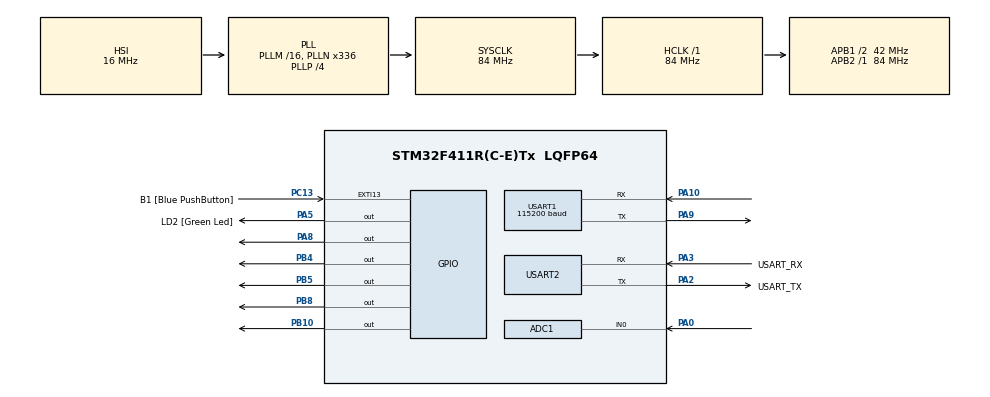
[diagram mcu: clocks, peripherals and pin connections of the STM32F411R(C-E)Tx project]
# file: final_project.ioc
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ADC1.Channel-0\#ChannelRegularConversion=ADC_CHANNEL_0
ADC1.NbrOfConversionFlag=1
ADC1.Rank-0\#ChannelRegularConversion=1
ADC1.SamplingTime-0\#ChannelRegularConversion=ADC_SAMPLETIME_3CYCLES
ADC1.master=1
Mcu.Family=STM32F4
Mcu.Name=STM32F411R(C-E)Tx
Mcu.Package=LQFP64
NVIC.PriorityGroup=NVIC_PRIORITYGROUP_0
PA0-WKUP.Signal=ADCx_IN0
PA10.Mode=Asynchronous
PA10.Signal=USART1_RX
PA13.GPIO_Label=TMS
PA13.Mode=Serial_Wire
PA13.Signal=SYS_JTMS-SWDIO
PA14.GPIO_Label=TCK
PA14.Mode=Serial_Wire
PA14.Signal=SYS_JTCK-SWCLK
PA2.GPIO_Label=USART_TX
PA2.Mode=Asynchronous
PA2.Signal=USART2_TX
PA3.GPIO_Label=USART_RX
PA3.Mode=Asynchronous
PA3.Signal=USART2_RX
PA5.GPIO_Label=LD2 [Green Led]
PA5.Signal=GPIO_Output
PA8.Signal=GPIO_Output
PA9.Mode=Asynchronous
PA9.Signal=USART1_TX
PB10.Signal=GPIO_Output
PB3.GPIO_Label=SWO
PB3.Signal=SYS_JTDO-SWO
PB4.Signal=GPIO_Output
PB5.Signal=GPIO_Output
PB8.Signal=GPIO_Output
PC13-ANTI_TAMP.GPIO_Label=B1 [Blue PushButton]
PC13-ANTI_TAMP.GPIO_ModeDefaultEXTI=GPIO_MODE_IT_FALLING
PC13-ANTI_TAMP.Signal=GPXTI13
PC14-OSC32_IN.Mode=LSE-External-Oscillator
PC14-OSC32_IN.Signal=RCC_OSC32_IN
PC15-OSC32_OUT.Mode=LSE-External-Oscillator
PC15-OSC32_OUT.Signal=RCC_OSC32_OUT
PH0\ -\ OSC_IN.Mode=HSE-External-Clock-Source
PH0\ -\ OSC_IN.Signal=RCC_OSC_IN
PH1\ -\ OSC_OUT.Mode=HSE-External-Clock-Source
PH1\ -\ OSC_OUT.Signal=RCC_OSC_OUT
ProjectManager.HeapSize=0x200
ProjectManager.StackSize=0x400
ProjectManager.TargetToolchain=STM32CubeIDE
RCC.48MHZClocksFreq_Value=84000000
RCC.AHBFreq_Value=84000000
RCC.APB1CLKDivider=RCC_HCLK_DIV2
RCC.APB1Freq_Value=42000000
RCC.APB1TimFreq_Value=84000000
RCC.APB2Freq_Value=84000000
RCC.APB2TimFreq_Value=84000000
RCC.CortexFreq_Value=84000000
RCC.FLatency-AdvancedSettings=FLASH_LATENCY_2
RCC.HCLKFreq_Value=84000000
RCC.HSE_VALUE=8000000
RCC.HSI_VALUE=16000000
RCC.PLLN=336
RCC.PLLP=RCC_PLLP_DIV4
RCC.SYSCLKFreq_VALUE=84000000
RCC.SYSCLKSource=RCC_SYSCLKSOURCE_PLLCLK
RCC.VCOOutputFreq_Value=336000000
SH.ADCx_IN0.0=ADC1_IN0,IN0
USART1.BaudRate=115200
USART1.VirtualMode=VM_ASYNC
USART2.VirtualMode=VM_ASYNC
board=NUCLEO-F411RE

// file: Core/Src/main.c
/* USER CODE BEGIN Header */
/**
 ******************************************************************************
 * @file           : main.c
 * @brief          : Main program body
 ******************************************************************************
 * @attention
 *
 * Copyright (c) 2025 STMicroelectronics.
 * All rights reserved.
 *
 * This software is licensed under terms that can be found in the LICENSE file
 * in the root directory of this software component.
 * If no LICENSE file comes with this software, it is provided AS-IS.
 *
 ******************************************************************************
 */
/* USER CODE END Header */
#include "main.h"
#include "adc.h"
#include "usart.h"
#include "gpio.h"

/* USER CODE BEGIN Includes */
#include <math.h>
#include <stdio.h>
#include <string.h>
/* USER CODE END Includes */

/* USER CODE BEGIN PV */
// --- DHT11 Variables ---
uint8_t Rh_byte1, Rh_byte2, Temp_byte1, Temp_byte2;
uint16_t SUM;
float Temperature = 0;
float Humidity = 0;
uint8_t Presence = 0;

// --- LDR Variables ---
uint32_t adc_val = 0;
float lux_val = 0;

// --- DS1302 Variables ---
uint8_t rtc_sec, rtc_min, rtc_hour, rtc_date, rtc_month, rtc_day, rtc_year;
char time_str[30];
char json_buffer[150]; // Buffer for UART sending
/* USER CODE END PV */

void SystemClock_Config(void);

/* USER CODE BEGIN 0 */

// ================= MICROSECOND DELAY (For DHT11) =================
// The HAL_Delay is milliseconds. We need microseconds.
// We use the DWT (Data Watchpoint and Trace) cycle counter.
void DWT_Delay_Init(void) {
  if (!(CoreDebug->DEMCR & CoreDebug_DEMCR_TRCENA_Msk)) {
    CoreDebug->DEMCR |= CoreDebug_DEMCR_TRCENA_Msk;
    DWT->CYCCNT = 0;
    DWT->CTRL |= DWT_CTRL_CYCCNTENA_Msk;
  }
}

void delay_us(uint32_t us) {
  uint32_t start_tick = DWT->CYCCNT;
  uint32_t ticks = us * (HAL_RCC_GetHCLKFreq() / 1000000);
  while ((DWT->CYCCNT - start_tick) < ticks)
    ;
}

// ================= GPIO HELPERS =================
void Set_Pin_Output(GPIO_TypeDef *GPIOx, uint16_t GPIO_Pin) {
  GPIO_InitTypeDef GPIO_InitStruct = {0};
  GPIO_InitStruct.Pin = GPIO_Pin;
  GPIO_InitStruct.Mode = GPIO_MODE_OUTPUT_PP;
  GPIO_InitStruct.Pull = GPIO_NOPULL;
  GPIO_InitStruct.Speed = GPIO_SPEED_FREQ_LOW;
  HAL_GPIO_Init(GPIOx, &GPIO_InitStruct);
}

void Set_Pin_Input(GPIO_TypeDef *GPIOx, uint16_t GPIO_Pin) {
  GPIO_InitTypeDef GPIO_InitStruct = {0};
  GPIO_InitStruct.Pin = GPIO_Pin;
  GPIO_InitStruct.Mode = GPIO_MODE_INPUT;
  GPIO_InitStruct.Pull = GPIO_NOPULL;
  HAL_GPIO_Init(GPIOx, &GPIO_InitStruct);
}

// ================= DHT11 DRIVER =================
void DHT11_Start(void) {
  Set_Pin_Output(GPIOB, GPIO_PIN_5); // PB5
  HAL_GPIO_WritePin(GPIOB, GPIO_PIN_5, 0);
  HAL_Delay(18); // Pull low for 18ms
  HAL_GPIO_WritePin(GPIOB, GPIO_PIN_5, 1);
  delay_us(20);
  Set_Pin_Input(GPIOB, GPIO_PIN_5);
}

uint8_t DHT11_Check_Response(void) {
  uint8_t Response = 0;
  delay_us(40);

  if (!(HAL_GPIO_ReadPin(GPIOB, GPIO_PIN_5))) {
    delay_us(80);
    if ((HAL_GPIO_ReadPin(GPIOB, GPIO_PIN_5)))
      Response = 1;
    else
      Response = -1;
  }

  // --- SAFETY FIX: Add Timeout ---
  // If the line stays HIGH forever, we must break out!
  uint32_t timeout = 1000;
  while ((HAL_GPIO_ReadPin(GPIOB, GPIO_PIN_5)) && timeout--)
    ;

  if (timeout == 0)
    return 0; // Error: Timeout
  return Response;
}

uint8_t DHT11_Read_Byte(void) {
  uint8_t i = 0, j;
  for (j = 0; j < 8; j++) {

    // --- SAFETY FIX 1: Wait for Pin LOW ---
    uint32_t timeout = 1000;
    while (!(HAL_GPIO_ReadPin(GPIOB, GPIO_PIN_5)) && timeout--)
      ;
    if (timeout == 0)
      return 0; // Escape if stuck LOW

    delay_us(40); // Measure pulse width

    if (!(HAL_GPIO_ReadPin(GPIOB, GPIO_PIN_5))) {
      i &= ~(1 << (7 - j)); // Logic 0
    } else {
      i |= (1 << (7 - j)); // Logic 1
    }

    // --- SAFETY FIX 2: Wait for Pin HIGH ---
    timeout = 1000;
    while ((HAL_GPIO_ReadPin(GPIOB, GPIO_PIN_5)) && timeout--)
      ;
    if (timeout == 0)
      return 0; // Escape if stuck HIGH
  }
  return i;
}

// ================= DS1302 DRIVER =================
// Mapped: CLK=PB4, DAT=PB10, RST=PA8
#define DS_CLK_PORT GPIOB
#define DS_CLK_PIN GPIO_PIN_4
#define DS_DAT_PORT GPIOB
#define DS_DAT_PIN GPIO_PIN_10
#define DS_RST_PORT GPIOA
#define DS_RST_PIN GPIO_PIN_8

void DS1302_WriteByte(uint8_t dat) {
  Set_Pin_Output(DS_DAT_PORT, DS_DAT_PIN);
  for (int i = 0; i < 8; i++) {
    HAL_GPIO_WritePin(DS_DAT_PORT, DS_DAT_PIN, (dat & 0x01));
    HAL_GPIO_WritePin(DS_CLK_PORT, DS_CLK_PIN, 1); // Clock High
    delay_us(1);
    HAL_GPIO_WritePin(DS_CLK_PORT, DS_CLK_PIN, 0); // Clock Low
    delay_us(1);
    dat >>= 1;
  }
}

uint8_t DS1302_ReadByte(void) {
  uint8_t dat = 0;
  Set_Pin_Input(DS_DAT_PORT, DS_DAT_PIN);
  for (int i = 0; i < 8; i++) {
    dat >>= 1;
    if (HAL_GPIO_ReadPin(DS_DAT_PORT, DS_DAT_PIN))
      dat |= 0x80;
    HAL_GPIO_WritePin(DS_CLK_PORT, DS_CLK_PIN, 1);
    delay_us(1);
    HAL_GPIO_WritePin(DS_CLK_PORT, DS_CLK_PIN, 0);
    delay_us(1);
  }
  return dat;
}

void DS1302_Write(uint8_t addr, uint8_t dat) {
  HAL_GPIO_WritePin(DS_RST_PORT, DS_RST_PIN, 0);
  HAL_GPIO_WritePin(DS_CLK_PORT, DS_CLK_PIN, 0);
  HAL_GPIO_WritePin(DS_RST_PORT, DS_RST_PIN, 1); // Enable
  DS1302_WriteByte(addr);
  DS1302_WriteByte(dat);
  HAL_GPIO_WritePin(DS_RST_PORT, DS_RST_PIN, 0); // Disable
}

uint8_t DS1302_Read(uint8_t addr) {
  uint8_t temp;
  HAL_GPIO_WritePin(DS_RST_PORT, DS_RST_PIN, 0);
  HAL_GPIO_WritePin(DS_CLK_PORT, DS_CLK_PIN, 0);
  HAL_GPIO_WritePin(DS_RST_PORT, DS_RST_PIN, 1); // Enable
  DS1302_WriteByte(addr);
  temp = DS1302_ReadByte();
  HAL_GPIO_WritePin(DS_RST_PORT, DS_RST_PIN, 0); // Disable
  return temp;
}

void DS1302_Init() {
  DS1302_Write(0x8E, 0x00); // Disable write protection
  // Optional: Set time once if needed (Sec, Min, Hour, Date, Month, Day, Year)
//   DS1302_Write(0x80, 0x00); // 00 Seconds
//   DS1302_Write(0x82, 0x06); // 40 Minutes (example: set to current time)
//   DS1302_Write(0x84, 0x19); // 11 Hours (24h format)
//   DS1302_Write(0x86, 0x09); // th Day
//   DS1302_Write(0x88, 0x12); // (month 12)
//   DS1302_Write(0x8A, 0x02); // (day of week, 1-7)
//   DS1302_Write(0x8C, 0x25); // Year 25 (2025)
//
   DS1302_Write(0x8E, 0x80); // Enable write protect
}

void DS1302_GetTime() {
  rtc_sec = DS1302_Read(0x81);
  rtc_min = DS1302_Read(0x83);
  rtc_hour = DS1302_Read(0x85);
  rtc_date = DS1302_Read(0x87);
  rtc_month = DS1302_Read(0x89);
  rtc_year = DS1302_Read(0x8D);
  // Convert BCD to Decimal
  rtc_sec = (rtc_sec / 16) * 10 + rtc_sec % 16;
  rtc_min = (rtc_min / 16) * 10 + rtc_min % 16;
  rtc_hour = (rtc_hour / 16) * 10 + rtc_hour % 16;
  rtc_date = (rtc_date / 16) * 10 + rtc_date % 16;
  rtc_month = (rtc_month / 16) * 10 + rtc_month % 16;
  rtc_year = (rtc_year / 16) * 10 + rtc_year % 16;
}
/* USER CODE END 0 */

int main(void)
{

  /* MCU Configuration--------------------------------------------------------*/

  /* Reset of all peripherals, Initializes the Flash interface and the Systick. */
  HAL_Init();

  /* Configure the system clock */
  SystemClock_Config();

  /* Initialize all configured peripherals */
  MX_GPIO_Init();
  MX_USART2_UART_Init();
  MX_ADC1_Init();
  MX_USART1_UART_Init();
  /* USER CODE BEGIN 2 */
  // 1. Initialize your custom libraries
  DWT_Delay_Init();
  DS1302_Init();

  // 2. Define your Startup Message (Use \r\n for a clean new line)
  char msg_start[] = "\r\n========================================\r\n"
                     "   STM32 F411RE Sensor Hub Starting...  \r\n"
                     "   Connection: 115200 baud              \r\n"
                     "========================================\r\n";

  // 3. Send it to the PC (huart2)
  HAL_UART_Transmit(&huart2, (uint8_t *)msg_start, strlen(msg_start), 100);
  HAL_GPIO_TogglePin(GPIOA, GPIO_PIN_5);
  /* USER CODE END 2 */

  /* Infinite loop */
  while (1) {

    /* USER CODE BEGIN 3 */
    // --- 1. Read DHT11 ---
    DHT11_Start();
    Presence = DHT11_Check_Response();
    Rh_byte1 = DHT11_Read_Byte();
    Rh_byte2 = DHT11_Read_Byte();
    Temp_byte1 = DHT11_Read_Byte();
    Temp_byte2 = DHT11_Read_Byte();
    SUM = DHT11_Read_Byte();

    // Verify Checksum
    if (SUM == (Rh_byte1 + Rh_byte2 + Temp_byte1 + Temp_byte2)) {
      Temperature = (float)Temp_byte1; // DHT11 only gives int precision usually
      Humidity = (float)Rh_byte1;
    }

    // --- 2. Read LDR (ADC) ---
    HAL_ADC_Start(&hadc1);
    if (HAL_ADC_PollForConversion(&hadc1, 100) == HAL_OK) {
      adc_val = HAL_ADC_GetValue(&hadc1);
    }
    HAL_ADC_Stop(&hadc1);

    // Debug ADC Print for raw LDR value
    // char adc_debug[50];
    // sprintf(adc_debug, "DEBUG ADC: raw=%lu\r\n", adc_val);
    // HAL_UART_Transmit(&huart2, (uint8_t*)adc_debug, strlen(adc_debug), 100);

    // Calculate Lux (Simplified math)
    float voltage = adc_val * (3.3 / 4095.0);
    float resistance = 10000 * (3.3 - voltage) / voltage;
    if (resistance < 10)
      resistance = 10;
    // Lux formula approx
    lux_val = 10 * pow((resistance / 50000), (-1 / 0.7));

    // --- 3. Read Time ---
    DS1302_GetTime();
    // Debug Time Print
    // char debug_str[100];
    // sprintf(debug_str,
    //         "DEBUG RTC: sec=%02X min=%02X hour=%02X date=%02X month=%02X "
    //         "year=%02X\r\n",
    //         rtc_sec, rtc_min, rtc_hour, rtc_date, rtc_month, rtc_year);
    // HAL_UART_Transmit(&huart2, (uint8_t *)debug_str, strlen(debug_str), 100);

    sprintf(time_str, "%02d/%02d/20%02d %02d:%02d:%02d", rtc_date, rtc_month,
            rtc_year, rtc_hour, rtc_min, rtc_sec);

    // --- 4. Format JSON ---
    // Make sure to enable "float with printf" in settings!
    memset(json_buffer, 0, sizeof(json_buffer));
    sprintf(json_buffer,
            "{\"temp\":%.1f,\"hum\":%.1f,\"lux\":%.1f,\"time\":\"%s\"}\r\n",
            Temperature, Humidity, lux_val, time_str);

    // --- 5. Send Data ---
    // To PC (USB)
    HAL_UART_Transmit(&huart2, (uint8_t *)json_buffer, strlen(json_buffer),
                      100);

    // To ESP32 (PA9/PA10)
    HAL_UART_Transmit(&huart1, (uint8_t *)json_buffer, strlen(json_buffer),
                      100);
//    HAL_UART_Transmit(&huart1, "b", strlen("b"), 100);
//    HAL_UART_Transmit(&huart1, (uint8_t *)"H", 1,
//                          100);
    HAL_GPIO_TogglePin(GPIOA, GPIO_PIN_5); // Blink the green LED
    // Wait 2 seconds
    HAL_Delay(2000);
  }
  /* USER CODE END 3 */
}

void SystemClock_Config(void)
{
  RCC_OscInitTypeDef RCC_OscInitStruct = {0};
  RCC_ClkInitTypeDef RCC_ClkInitStruct = {0};

  /** Configure the main internal regulator output voltage
  */
  __HAL_RCC_PWR_CLK_ENABLE();
  __HAL_PWR_VOLTAGESCALING_CONFIG(PWR_REGULATOR_VOLTAGE_SCALE1);

  /** Initializes the RCC Oscillators according to the specified parameters
  * in the RCC_OscInitTypeDef structure.
  */
  RCC_OscInitStruct.OscillatorType = RCC_OSCILLATORTYPE_HSI;
  RCC_OscInitStruct.HSIState = RCC_HSI_ON;
  RCC_OscInitStruct.HSICalibrationValue = RCC_HSICALIBRATION_DEFAULT;
  RCC_OscInitStruct.PLL.PLLState = RCC_PLL_ON;
  RCC_OscInitStruct.PLL.PLLSource = RCC_PLLSOURCE_HSI;
  RCC_OscInitStruct.PLL.PLLM = 16;
  RCC_OscInitStruct.PLL.PLLN = 336;
  RCC_OscInitStruct.PLL.PLLP = RCC_PLLP_DIV4;
  RCC_OscInitStruct.PLL.PLLQ = 4;
  if (HAL_RCC_OscConfig(&RCC_OscInitStruct) != HAL_OK)
  {
    Error_Handler();
  }

  /** Initializes the CPU, AHB and APB buses clocks
  */
  RCC_ClkInitStruct.ClockType = RCC_CLOCKTYPE_HCLK|RCC_CLOCKTYPE_SYSCLK
                              |RCC_CLOCKTYPE_PCLK1|RCC_CLOCKTYPE_PCLK2;
  RCC_ClkInitStruct.SYSCLKSource = RCC_SYSCLKSOURCE_PLLCLK;
  RCC_ClkInitStruct.AHBCLKDivider = RCC_SYSCLK_DIV1;
  RCC_ClkInitStruct.APB1CLKDivider = RCC_HCLK_DIV2;
  RCC_ClkInitStruct.APB2CLKDivider = RCC_HCLK_DIV1;

  if (HAL_RCC_ClockConfig(&RCC_ClkInitStruct, FLASH_LATENCY_2) != HAL_OK)
  {
    Error_Handler();
  }
}

void Error_Handler(void)
{
  __disable_irq();
}
#ifdef USE_FULL_ASSERT
/**
  * @brief  Reports the name of the source file and the source line number
  *         where the assert_param error has occurred.
  * @param  file: pointer to the source file name
  * @param  line: assert_param error line source number
  * @retval None
  */
void assert_failed(uint8_t *file, uint32_t line)
{
  /* USER CODE BEGIN 6 */
  /* User can add his own implementation to report the file name and line
     number, ex: printf("Wrong parameters value: file %s on line %d\r\n", file,
     line) */
  /* USER CODE END 6 */
}
#endif /* USE_FULL_ASSERT */
